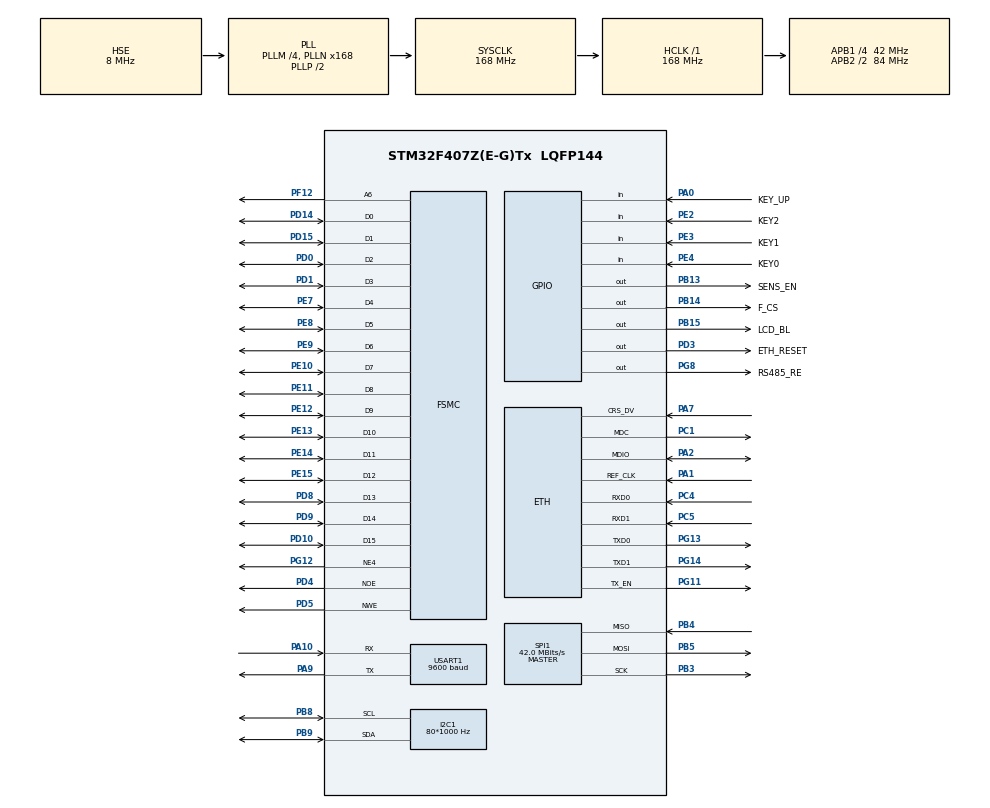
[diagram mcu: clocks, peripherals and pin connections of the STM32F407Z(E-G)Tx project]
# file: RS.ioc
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ETH.MediaInterface=HAL_ETH_RMII_MODE
ETH.PHY_DUPLEX_STATUS=0x0010
ETH.PHY_Name_RMII=LAN8742A_PHY_ADDRESS
ETH.PHY_SPEED_STATUS=0x0004
ETH.PHY_SR=31
FSMC.BusTurnAroundDuration1=0
FSMC.DataSetupTime1=60
FSMC.ExtendedAddressSetupTime1=9
FSMC.ExtendedBusTurnAroundDuration1=0
FSMC.ExtendedDataSetupTime1=8
FSMC.ExtendedMode1=FSMC_EXTENDED_MODE_ENABLE
I2C1.ClockSpeed=80*1000
LWIP.API_LIB_DEBUG=LWIP_DBG_ON
LWIP.API_MSG_DEBUG=LWIP_DBG_ON
LWIP.AUTOIP_DEBUG=LWIP_DBG_ON
LWIP.BSP.number=1
LWIP.DHCP_DEBUG=LWIP_DBG_ON
LWIP.DNS_DEBUG=LWIP_DBG_ON
LWIP.GATEWAY_ADDRESS=192.168.003.001
LWIP.ICMP_DEBUG=LWIP_DBG_ON
LWIP.IGMP_DEBUG=LWIP_DBG_ON
LWIP.INET_DEBUG=LWIP_DBG_ON
LWIP.IP_ADDRESS=192.168.003.005
LWIP.IP_DEBUG=LWIP_DBG_ON
LWIP.IP_REASS_DEBUG=LWIP_DBG_ON
LWIP.LWIP_ALTCP=0
LWIP.LWIP_DBG_MIN_LEVEL=LWIP_DBG_LEVEL_SERIOUS
LWIP.LWIP_DHCP=1
LWIP.LWIP_DNS=1
LWIP.LWIP_HTTPD=0
LWIP.MEMP_DEBUG=LWIP_DBG_ON
LWIP.MEMP_NUM_PBUF=32
LWIP.MEMP_NUM_TCP_SEG=32
LWIP.MEM_DEBUG=LWIP_DBG_ON
LWIP.MEM_SIZE=3200
LWIP.NETIF_DEBUG=LWIP_DBG_ON
LWIP.NETMASK_ADDRESS=255.255.255.000
LWIP.PBUF_DEBUG=LWIP_DBG_ON
LWIP.RAW_DEBUG=LWIP_DBG_ON
LWIP.SLIP_DEBUG=LWIP_DBG_ON
LWIP.SOCKETS_DEBUG=LWIP_DBG_ON
LWIP.SYS_DEBUG=LWIP_DBG_ON
LWIP.TCPIP_DEBUG=LWIP_DBG_ON
LWIP.TCP_CWND_DEBUG=LWIP_DBG_ON
LWIP.TCP_DEBUG=LWIP_DBG_ON
LWIP.TCP_FR_DEBUG=LWIP_DBG_ON
LWIP.TCP_INPUT_DEBUG=LWIP_DBG_ON
LWIP.TCP_MSS=1200
LWIP.TCP_OUTPUT_DEBUG=LWIP_DBG_ON
LWIP.TCP_QLEN_DEBUG=LWIP_DBG_ON
LWIP.TCP_RST_DEBUG=LWIP_DBG_ON
LWIP.TCP_RTO_DEBUG=LWIP_DBG_ON
LWIP.TCP_SND_BUF=3500
LWIP.TCP_SND_QUEUELEN=32
LWIP.TCP_WND_DEBUG=LWIP_DBG_ON
LWIP.TIMERS_DEBUG=LWIP_DBG_OFF
LWIP.UDP_DEBUG=LWIP_DBG_ON
LWIP.Version=v2.1.2_Cube
LWIP0.BSP.STBoard=false
LWIP0.BSP.api=BSP_COMPONENT_DRIVER
LWIP0.BSP.component=LAN8742
LWIP0.BSP.instance=LAN8742
LWIP0.BSP.name=Driver_PHY
LWIP0.BSP.semaphore=S_LAN8742
LWIP0.BSP.solution=LAN8742
Mcu.Family=STM32F4
Mcu.Name=STM32F407Z(E-G)Tx
Mcu.Package=LQFP144
NVIC.ETH_IRQn=true\:0\:0\:false\:false\:true\:true\:true\:true
NVIC.PriorityGroup=NVIC_PRIORITYGROUP_4
PA0-WKUP.GPIO_Label=KEY_UP
PA0-WKUP.GPIO_PuPd=GPIO_PULLDOWN
PA0-WKUP.Signal=GPIO_Input
PA1.Mode=RMII
PA1.Signal=ETH_REF_CLK
PA10.GPIO_PuPd=GPIO_PULLUP
PA10.Mode=Asynchronous
PA10.Signal=USART1_RX
PA13.Mode=Serial_Wire
PA13.Signal=SYS_JTMS-SWDIO
PA14.Mode=Serial_Wire
PA14.Signal=SYS_JTCK-SWCLK
PA2.Mode=RMII
PA2.Signal=ETH_MDIO
PA7.Mode=RMII
PA7.Signal=ETH_CRS_DV
PA9.GPIO_PuPd=GPIO_PULLUP
PA9.Mode=Asynchronous
PA9.Signal=USART1_TX
PB13.GPIO_Label=SENS_EN
PB13.Signal=GPIO_Output
PB14.GPIO_Label=F_CS
PB14.GPIO_PuPd=GPIO_PULLUP
PB14.PinState=GPIO_PIN_SET
PB14.Signal=GPIO_Output
PB15.GPIO_Label=LCD_BL
PB15.Signal=GPIO_Output
PB3.Mode=Full_Duplex_Master
PB3.Signal=SPI1_SCK
PB4.Mode=Full_Duplex_Master
PB4.Signal=SPI1_MISO
PB5.Mode=Full_Duplex_Master
PB5.Signal=SPI1_MOSI
PB8.GPIO_Pu=GPIO_PULLUP
PB8.Mode=I2C
PB8.Signal=I2C1_SCL
PB9.GPIO_Pu=GPIO_PULLUP
PB9.Mode=I2C
PB9.Signal=I2C1_SDA
PC1.Mode=RMII
PC1.Signal=ETH_MDC
PC14-OSC32_IN.Mode=LSE-External-Oscillator
PC14-OSC32_IN.Signal=RCC_OSC32_IN
PC15-OSC32_OUT.Mode=LSE-External-Oscillator
PC15-OSC32_OUT.Signal=RCC_OSC32_OUT
PC4.Mode=RMII
PC4.Signal=ETH_RXD0
PC5.Mode=RMII
PC5.Signal=ETH_RXD1
PD0.Signal=FSMC_D2_DA2
PD1.Signal=FSMC_D3_DA3
PD10.Signal=FSMC_D15_DA15
PD14.Signal=FSMC_D0_DA0
PD15.Signal=FSMC_D1_DA1
PD3.GPIO_Label=ETH_RESET
PD3.GPIO_PuPd=GPIO_NOPULL
PD3.PinState=GPIO_PIN_RESET
PD3.Signal=GPIO_Output
PD4.Signal=FSMC_NOE
PD5.Signal=FSMC_NWE
PD8.Signal=FSMC_D13_DA13
PD9.Signal=FSMC_D14_DA14
PE10.Signal=FSMC_D7_DA7
PE11.Signal=FSMC_D8_DA8
PE12.Signal=FSMC_D9_DA9
PE13.Signal=FSMC_D10_DA10
PE14.Signal=FSMC_D11_DA11
PE15.Signal=FSMC_D12_DA12
PE2.GPIO_Label=KEY2
PE2.GPIO_PuPd=GPIO_PULLUP
PE2.Signal=GPIO_Input
PE3.GPIO_Label=KEY1
PE3.GPIO_PuPd=GPIO_PULLUP
PE3.Signal=GPIO_Input
PE4.GPIO_Label=KEY0
PE4.GPIO_PuPd=GPIO_PULLUP
PE4.Signal=GPIO_Input
PE7.Signal=FSMC_D4_DA4
PE8.Signal=FSMC_D5_DA5
PE9.Signal=FSMC_D6_DA6
PF12.Signal=FSMC_A6
PG11.Mode=RMII
PG11.Signal=ETH_TX_EN
PG12.Mode=NorPsramChipSelect4_1
PG12.Signal=FSMC_NE4
PG13.Mode=RMII
PG13.Signal=ETH_TXD0
PG14.Mode=RMII
PG14.Signal=ETH_TXD1
PG8.GPIO_Label=RS485_RE
PG8.GPIO_Speed=GPIO_SPEED_FREQ_VERY_HIGH
PG8.Signal=GPIO_Output
PH0-OSC_IN.Mode=HSE-External-Oscillator
PH0-OSC_IN.Signal=RCC_OSC_IN
PH1-OSC_OUT.Mode=HSE-External-Oscillator
PH1-OSC_OUT.Signal=RCC_OSC_OUT
ProjectManager.HeapSize=0x300
ProjectManager.StackSize=0x500
ProjectManager.TargetToolchain=STM32CubeIDE
RCC.48MHZClocksFreq_Value=84000000
RCC.AHBFreq_Value=168000000
RCC.APB1CLKDivider=RCC_HCLK_DIV4
RCC.APB1Freq_Value=42000000
RCC.APB1TimFreq_Value=84000000
RCC.APB2CLKDivider=RCC_HCLK_DIV2
RCC.APB2Freq_Value=84000000
RCC.APB2TimFreq_Value=168000000
RCC.CortexFreq_Value=168000000
RCC.HCLKFreq_Value=168000000
RCC.HSE_VALUE=8000000
RCC.HSI_VALUE=16000000
RCC.PLLM=4
RCC.PLLN=168
RCC.PLLSourceVirtual=RCC_PLLSOURCE_HSE
RCC.SYSCLKFreq_VALUE=168000000
RCC.SYSCLKSource=RCC_SYSCLKSOURCE_PLLCLK
RCC.VCOOutputFreq_Value=336000000
SH.FSMC_A6.0=FSMC_A6,A6_1
SH.FSMC_D0_DA0.0=FSMC_D0,16b-d1
SH.FSMC_D10_DA10.0=FSMC_D10,16b-d1
SH.FSMC_D11_DA11.0=FSMC_D11,16b-d1
SH.FSMC_D12_DA12.0=FSMC_D12,16b-d1
SH.FSMC_D13_DA13.0=FSMC_D13,16b-d1
SH.FSMC_D14_DA14.0=FSMC_D14,16b-d1
SH.FSMC_D15_DA15.0=FSMC_D15,16b-d1
SH.FSMC_D1_DA1.0=FSMC_D1,16b-d1
SH.FSMC_D2_DA2.0=FSMC_D2,16b-d1
SH.FSMC_D3_DA3.0=FSMC_D3,16b-d1
SH.FSMC_D4_DA4.0=FSMC_D4,16b-d1
SH.FSMC_D5_DA5.0=FSMC_D5,16b-d1
SH.FSMC_D6_DA6.0=FSMC_D6,16b-d1
SH.FSMC_D7_DA7.0=FSMC_D7,16b-d1
SH.FSMC_D8_DA8.0=FSMC_D8,16b-d1
SH.FSMC_D9_DA9.0=FSMC_D9,16b-d1
SH.FSMC_NOE.0=FSMC_NOE,Lcd1
SH.FSMC_NWE.0=FSMC_NWE,Lcd1
SPI1.BaudRatePrescaler=SPI_BAUDRATEPRESCALER_2
SPI1.CalculateBaudRate=42.0 MBits/s
SPI1.Direction=SPI_DIRECTION_2LINES
SPI1.Mode=SPI_MODE_MASTER
SPI1.VirtualType=VM_MASTER
TIM4.Period=1000-1
TIM4.Prescaler=84-1
USART1.BaudRate=9600
USART1.VirtualMode=VM_ASYNC
VP_CRC_VS_CRC.Mode=CRC_Activate
VP_LWIP_VS_Enabled.Mode=Enabled
VP_TIM4_VS_ClockSourceINT.Mode=Internal
board=custom

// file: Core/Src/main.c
/* USER CODE BEGIN Header */
/**
  ******************************************************************************
  * @file           : main.c
  * @brief          : Main program body
  ******************************************************************************
  * @attention
  *
  * Copyright (c) 2022 STMicroelectronics.
  * All rights reserved.
  *
  * This software is licensed under terms that can be found in the LICENSE file
  * in the root directory of this software component.
  * If no LICENSE file comes with this software, it is provided AS-IS.
  *
  ******************************************************************************
  */
/* USER CODE END Header */
#include "main.h"

/* USER CODE BEGIN Includes */
#include "lwip.h"
#include "stm32f4xx_it.h"
#include "stdbool.h"
#include "App.h"
#include "lcd_gxct.h"
#include "stdio.h"
#include "lcd_server.h"
#include "tictok.h"
#include "key_services.h"
#include "HanZi.h"
/* USER CODE END Includes */

/* USER CODE BEGIN PM */

#pragma clang diagnostic push
#pragma ide diagnostic ignored "EndlessLoop"
#define LcdPrint(_LINE_,...) do{sprintf((char*)lcd_buffer,__VA_ARGS__); \
                  LCD_ShowStringLineEx(_LINE_,lcd_buffer);}while(0)

//#define ignore_network
/* USER CODE END PM */

CRC_HandleTypeDef hcrc;

I2C_HandleTypeDef hi2c1;

SPI_HandleTypeDef hspi1;

TIM_HandleTypeDef htim4;

UART_HandleTypeDef huart1;

SRAM_HandleTypeDef hsram1;

/* USER CODE BEGIN PV */

static char    lcd_buffer[32];

/* USER CODE END PV */

void SystemClock_Config(void);
static void MX_GPIO_Init(void);
static void MX_CRC_Init(void);
static void MX_USART1_UART_Init(void);
static void MX_I2C1_Init(void);
static void MX_FSMC_Init(void);
static void MX_TIM4_Init(void);
static void MX_SPI1_Init(void);

/* USER CODE BEGIN 0 */
int fputc(int ch,FILE *f)
{
    UNUSED(f);
    HAL_UART_Transmit(&huart1,(uint8_t *)&ch,1,0xfff);        //UartHandle是串口的句柄
    return ch;
}

void check_dhcp_callback(){
    struct dhcp *dhcp = netif_dhcp_data(netif_default);
    if(dhcp != NULL){
        if (dhcp->state == 10) { //10:DHCP_STATE_BOUND see prot\dhcp.h
            LCD_clearLine(LINE4);
            LcdPrint(LINE4, "等待 DHCP... 成功");
            LcdPrint(LINE5, "IP:%s", ip4addr_ntoa(&(dhcp->offered_ip_addr)));
            LcdPrint(LINE6, "GW:%s", ip4addr_ntoa(&(dhcp->offered_gw_addr)));
            tictok.Remove(This.check_dhcp_callback_tictok_ID);
            HAL_Delay(1500); //尽管阻塞等待这么久不是好习惯，但系统在这个阶段还没有什么任务在执行
            This.state_go(ST_saint_peter);
        } else if(dhcp->tries >= 4 && dhcp->tries < 7) {
            LcdPrint(LINE4, "等待 DHCP...重试: %d",dhcp->tries);
        }else if(dhcp->tries >= 7) {
            This.on_error("DHCP 获取失败");
        }

    }else{ //dhcp结构体没有被分配，说明interface根本没起来，这个时候应该卡在“No link”那里了
        //does nothing
    }
}

bool check_if_up(){
    MX_LWIP_Process();
    //有的时候会莫名提示没有插线 //可能与https://trilium.acetylcoa.tech//share/Kqtj7E7W1HjB 有关
    //不对 可能没有关系
    if(! (netif_default->flags & 0x01)){ //see netif.h for details
        MX_LWIP_Process();
        HAL_Delay(15);
        MX_LWIP_Process();
        if(! (netif_default->flags & 0x01)){
            return false;
        }
    }
    return true;
}
/* USER CODE END 0 */

int main(void)
{

  /* MCU Configuration--------------------------------------------------------*/

  /* Reset of all peripherals, Initializes the Flash interface and the Systick. */
  HAL_Init();

  /* Configure the system clock */
  SystemClock_Config();

  /* Initialize all configured peripherals */
  MX_GPIO_Init();
  MX_CRC_Init();
  MX_USART1_UART_Init();
  MX_I2C1_Init();
  MX_FSMC_Init();
  MX_TIM4_Init();
  MX_SPI1_Init();
  /* USER CODE BEGIN 2 */

    printf("good "__TIME__"\n");
   // EE_wipe();

    This.init();

    tictok.Add(lcd_server,1000,0);//把部分定期执行的放到时钟中心里，以增强异步性

    LCD_ShowStringLineEx(LINE1,"中文CN中文CN");
    LcdPrint(LINE2,"初始化 lwip...");
    HAL_GPIO_WritePin(ETH_RESET_GPIO_Port,ETH_RESET_Pin,GPIO_PIN_SET); //解除PHY复位
    MX_LWIP_Init(); //我关掉cube自动生成对该函数的调用了。因为它太耗时间。我打算先让LCD准备好
    MX_LWIP_Process();
    LcdPrint(LINE2,"初始化 lwip... 成功");
    LcdPrint(LINE3,"检查网线情况...");
#ifdef ignore_network  //为了方便调试，可以选择忽略网络存在性检查
    if (1){
#else

    if(check_if_up()){
#endif
        LcdPrint(LINE3,"检查网线情况... 成功");
        LcdPrint(LINE4,"等待 DHCP...");
    }else{
        LcdPrint(LINE3,"检查网线情况... 失败");
        LcdPrint(LINE4,"你插线了吗?");
        LCD_push(RED);
        LCD_ShowStringLine(LINE10,"ERROR");
        LCD_pop();
    }
#ifdef ignore_network
    HAL_Delay(600);
    This.state_go(ST_saint_peter);
#else
    MX_LWIP_Process();
    This.check_dhcp_callback_tictok_ID=tictok.Add(check_dhcp_callback,300,false); //300ms检查一次dhcp状态
#endif

  tictok.Add(This.state_server,200,0);

  /* USER CODE END 2 */

  /* Infinite loop */
  /* USER CODE BEGIN WHILE */
  while (1)
  {
		MX_LWIP_Process();

        if(t100ms == 1){
            t100ms = 0;
            //为了增强异步性，大部分定时任务被移到时钟中心了
            This.keys = key_reader();
            key_services();
        }

        tictok.tock();
    /* USER CODE END WHILE */

  }
}

void SystemClock_Config(void)
{
  RCC_OscInitTypeDef RCC_OscInitStruct = {0};
  RCC_ClkInitTypeDef RCC_ClkInitStruct = {0};

  /** Configure the main internal regulator output voltage
  */
  __HAL_RCC_PWR_CLK_ENABLE();
  __HAL_PWR_VOLTAGESCALING_CONFIG(PWR_REGULATOR_VOLTAGE_SCALE1);

  /** Initializes the RCC Oscillators according to the specified parameters
  * in the RCC_OscInitTypeDef structure.
  */
  RCC_OscInitStruct.OscillatorType = RCC_OSCILLATORTYPE_HSE;
  RCC_OscInitStruct.HSEState = RCC_HSE_ON;
  RCC_OscInitStruct.PLL.PLLState = RCC_PLL_ON;
  RCC_OscInitStruct.PLL.PLLSource = RCC_PLLSOURCE_HSE;
  RCC_OscInitStruct.PLL.PLLM = 4;
  RCC_OscInitStruct.PLL.PLLN = 168;
  RCC_OscInitStruct.PLL.PLLP = RCC_PLLP_DIV2;
  RCC_OscInitStruct.PLL.PLLQ = 4;
  if (HAL_RCC_OscConfig(&RCC_OscInitStruct) != HAL_OK)
  {
    Error_Handler();
  }

  /** Initializes the CPU, AHB and APB buses clocks
  */
  RCC_ClkInitStruct.ClockType = RCC_CLOCKTYPE_HCLK|RCC_CLOCKTYPE_SYSCLK
                              |RCC_CLOCKTYPE_PCLK1|RCC_CLOCKTYPE_PCLK2;
  RCC_ClkInitStruct.SYSCLKSource = RCC_SYSCLKSOURCE_PLLCLK;
  RCC_ClkInitStruct.AHBCLKDivider = RCC_SYSCLK_DIV1;
  RCC_ClkInitStruct.APB1CLKDivider = RCC_HCLK_DIV4;
  RCC_ClkInitStruct.APB2CLKDivider = RCC_HCLK_DIV2;

  if (HAL_RCC_ClockConfig(&RCC_ClkInitStruct, FLASH_LATENCY_5) != HAL_OK)
  {
    Error_Handler();
  }
}

static void MX_CRC_Init(void)
{

  hcrc.Instance = CRC;
  if (HAL_CRC_Init(&hcrc) != HAL_OK)
  {
    Error_Handler();
  }

}

static void MX_I2C1_Init(void)
{

  hi2c1.Instance = I2C1;
  hi2c1.Init.ClockSpeed = 80*1000;
  hi2c1.Init.DutyCycle = I2C_DUTYCYCLE_2;
  hi2c1.Init.OwnAddress1 = 0;
  hi2c1.Init.AddressingMode = I2C_ADDRESSINGMODE_7BIT;
  hi2c1.Init.DualAddressMode = I2C_DUALADDRESS_DISABLE;
  hi2c1.Init.OwnAddress2 = 0;
  hi2c1.Init.GeneralCallMode = I2C_GENERALCALL_DISABLE;
  hi2c1.Init.NoStretchMode = I2C_NOSTRETCH_DISABLE;
  if (HAL_I2C_Init(&hi2c1) != HAL_OK)
  {
    Error_Handler();
  }

}

static void MX_SPI1_Init(void)
{

  /* SPI1 parameter configuration*/
  hspi1.Instance = SPI1;
  hspi1.Init.Mode = SPI_MODE_MASTER;
  hspi1.Init.Direction = SPI_DIRECTION_2LINES;
  hspi1.Init.DataSize = SPI_DATASIZE_8BIT;
  hspi1.Init.CLKPolarity = SPI_POLARITY_LOW;
  hspi1.Init.CLKPhase = SPI_PHASE_1EDGE;
  hspi1.Init.NSS = SPI_NSS_SOFT;
  hspi1.Init.BaudRatePrescaler = SPI_BAUDRATEPRESCALER_2;
  hspi1.Init.FirstBit = SPI_FIRSTBIT_MSB;
  hspi1.Init.TIMode = SPI_TIMODE_DISABLE;
  hspi1.Init.CRCCalculation = SPI_CRCCALCULATION_DISABLE;
  hspi1.Init.CRCPolynomial = 10;
  if (HAL_SPI_Init(&hspi1) != HAL_OK)
  {
    Error_Handler();
  }

}

static void MX_TIM4_Init(void)
{

  TIM_ClockConfigTypeDef sClockSourceConfig = {0};
  TIM_MasterConfigTypeDef sMasterConfig = {0};

  htim4.Instance = TIM4;
  htim4.Init.Prescaler = 84-1;
  htim4.Init.CounterMode = TIM_COUNTERMODE_UP;
  htim4.Init.Period = 1000-1;
  htim4.Init.ClockDivision = TIM_CLOCKDIVISION_DIV1;
  htim4.Init.AutoReloadPreload = TIM_AUTORELOAD_PRELOAD_DISABLE;
  if (HAL_TIM_Base_Init(&htim4) != HAL_OK)
  {
    Error_Handler();
  }
  sClockSourceConfig.ClockSource = TIM_CLOCKSOURCE_INTERNAL;
  if (HAL_TIM_ConfigClockSource(&htim4, &sClockSourceConfig) != HAL_OK)
  {
    Error_Handler();
  }
  sMasterConfig.MasterOutputTrigger = TIM_TRGO_RESET;
  sMasterConfig.MasterSlaveMode = TIM_MASTERSLAVEMODE_DISABLE;
  if (HAL_TIMEx_MasterConfigSynchronization(&htim4, &sMasterConfig) != HAL_OK)
  {
    Error_Handler();
  }

}

static void MX_USART1_UART_Init(void)
{

  huart1.Instance = USART1;
  huart1.Init.BaudRate = 9600;
  huart1.Init.WordLength = UART_WORDLENGTH_8B;
  huart1.Init.StopBits = UART_STOPBITS_1;
  huart1.Init.Parity = UART_PARITY_NONE;
  huart1.Init.Mode = UART_MODE_TX_RX;
  huart1.Init.HwFlowCtl = UART_HWCONTROL_NONE;
  huart1.Init.OverSampling = UART_OVERSAMPLING_16;
  if (HAL_UART_Init(&huart1) != HAL_OK)
  {
    Error_Handler();
  }

}

static void MX_GPIO_Init(void)
{
  GPIO_InitTypeDef GPIO_InitStruct = {0};

  /* GPIO Ports Clock Enable */
  __HAL_RCC_GPIOE_CLK_ENABLE();
  __HAL_RCC_GPIOC_CLK_ENABLE();
  __HAL_RCC_GPIOH_CLK_ENABLE();
  __HAL_RCC_GPIOA_CLK_ENABLE();
  __HAL_RCC_GPIOF_CLK_ENABLE();
  __HAL_RCC_GPIOB_CLK_ENABLE();
  __HAL_RCC_GPIOD_CLK_ENABLE();
  __HAL_RCC_GPIOG_CLK_ENABLE();

  /*Configure GPIO pin Output Level */
  HAL_GPIO_WritePin(GPIOB, SENS_EN_Pin|LCD_BL_Pin, GPIO_PIN_RESET);

  /*Configure GPIO pin Output Level */
  HAL_GPIO_WritePin(F_CS_GPIO_Port, F_CS_Pin, GPIO_PIN_SET);

  /*Configure GPIO pin Output Level */
  HAL_GPIO_WritePin(RS485_RE_GPIO_Port, RS485_RE_Pin, GPIO_PIN_RESET);

  /*Configure GPIO pin Output Level */
  HAL_GPIO_WritePin(ETH_RESET_GPIO_Port, ETH_RESET_Pin, GPIO_PIN_RESET);

  /*Configure GPIO pins : KEY2_Pin KEY1_Pin KEY0_Pin */
  GPIO_InitStruct.Pin = KEY2_Pin|KEY1_Pin|KEY0_Pin;
  GPIO_InitStruct.Mode = GPIO_MODE_INPUT;
  GPIO_InitStruct.Pull = GPIO_PULLUP;
  HAL_GPIO_Init(GPIOE, &GPIO_InitStruct);

  /*Configure GPIO pin : KEY_UP_Pin */
  GPIO_InitStruct.Pin = KEY_UP_Pin;
  GPIO_InitStruct.Mode = GPIO_MODE_INPUT;
  GPIO_InitStruct.Pull = GPIO_PULLDOWN;
  HAL_GPIO_Init(KEY_UP_GPIO_Port, &GPIO_InitStruct);

  /*Configure GPIO pins : SENS_EN_Pin LCD_BL_Pin */
  GPIO_InitStruct.Pin = SENS_EN_Pin|LCD_BL_Pin;
  GPIO_InitStruct.Mode = GPIO_MODE_OUTPUT_PP;
  GPIO_InitStruct.Pull = GPIO_NOPULL;
  GPIO_InitStruct.Speed = GPIO_SPEED_FREQ_LOW;
  HAL_GPIO_Init(GPIOB, &GPIO_InitStruct);

  /*Configure GPIO pin : F_CS_Pin */
  GPIO_InitStruct.Pin = F_CS_Pin;
  GPIO_InitStruct.Mode = GPIO_MODE_OUTPUT_PP;
  GPIO_InitStruct.Pull = GPIO_PULLUP;
  GPIO_InitStruct.Speed = GPIO_SPEED_FREQ_LOW;
  HAL_GPIO_Init(F_CS_GPIO_Port, &GPIO_InitStruct);

  /*Configure GPIO pin : RS485_RE_Pin */
  GPIO_InitStruct.Pin = RS485_RE_Pin;
  GPIO_InitStruct.Mode = GPIO_MODE_OUTPUT_PP;
  GPIO_InitStruct.Pull = GPIO_NOPULL;
  GPIO_InitStruct.Speed = GPIO_SPEED_FREQ_VERY_HIGH;
  HAL_GPIO_Init(RS485_RE_GPIO_Port, &GPIO_InitStruct);

  /*Configure GPIO pin : ETH_RESET_Pin */
  GPIO_InitStruct.Pin = ETH_RESET_Pin;
  GPIO_InitStruct.Mode = GPIO_MODE_OUTPUT_PP;
  GPIO_InitStruct.Pull = GPIO_NOPULL;
  GPIO_InitStruct.Speed = GPIO_SPEED_FREQ_LOW;
  HAL_GPIO_Init(ETH_RESET_GPIO_Port, &GPIO_InitStruct);

}

/* FSMC initialization function */
static void MX_FSMC_Init(void)
{

  FSMC_NORSRAM_TimingTypeDef Timing = {0};
  FSMC_NORSRAM_TimingTypeDef ExtTiming = {0};

  /** Perform the SRAM1 memory initialization sequence
  */
  hsram1.Instance = FSMC_NORSRAM_DEVICE;
  hsram1.Extended = FSMC_NORSRAM_EXTENDED_DEVICE;
  /* hsram1.Init */
  hsram1.Init.NSBank = FSMC_NORSRAM_BANK4;
  hsram1.Init.DataAddressMux = FSMC_DATA_ADDRESS_MUX_DISABLE;
  hsram1.Init.MemoryType = FSMC_MEMORY_TYPE_SRAM;
  hsram1.Init.MemoryDataWidth = FSMC_NORSRAM_MEM_BUS_WIDTH_16;
  hsram1.Init.BurstAccessMode = FSMC_BURST_ACCESS_MODE_DISABLE;
  hsram1.Init.WaitSignalPolarity = FSMC_WAIT_SIGNAL_POLARITY_LOW;
  hsram1.Init.WrapMode = FSMC_WRAP_MODE_DISABLE;
  hsram1.Init.WaitSignalActive = FSMC_WAIT_TIMING_BEFORE_WS;
  hsram1.Init.WriteOperation = FSMC_WRITE_OPERATION_ENABLE;
  hsram1.Init.WaitSignal = FSMC_WAIT_SIGNAL_DISABLE;
  hsram1.Init.ExtendedMode = FSMC_EXTENDED_MODE_ENABLE;
  hsram1.Init.AsynchronousWait = FSMC_ASYNCHRONOUS_WAIT_DISABLE;
  hsram1.Init.WriteBurst = FSMC_WRITE_BURST_DISABLE;
  hsram1.Init.PageSize = FSMC_PAGE_SIZE_NONE;
  /* Timing */
  Timing.AddressSetupTime = 15;
  Timing.AddressHoldTime = 15;
  Timing.DataSetupTime = 60;
  Timing.BusTurnAroundDuration = 0;
  Timing.CLKDivision = 16;
  Timing.DataLatency = 17;
  Timing.AccessMode = FSMC_ACCESS_MODE_A;
  /* ExtTiming */
  ExtTiming.AddressSetupTime = 9;
  ExtTiming.AddressHoldTime = 15;
  ExtTiming.DataSetupTime = 8;
  ExtTiming.BusTurnAroundDuration = 0;
  ExtTiming.CLKDivision = 16;
  ExtTiming.DataLatency = 17;
  ExtTiming.AccessMode = FSMC_ACCESS_MODE_A;

  if (HAL_SRAM_Init(&hsram1, &Timing, &ExtTiming) != HAL_OK)
  {
    Error_Handler( );
  }

}

void Error_Handler(void)
{
  __disable_irq();
  while (1)
  {
  }
}
